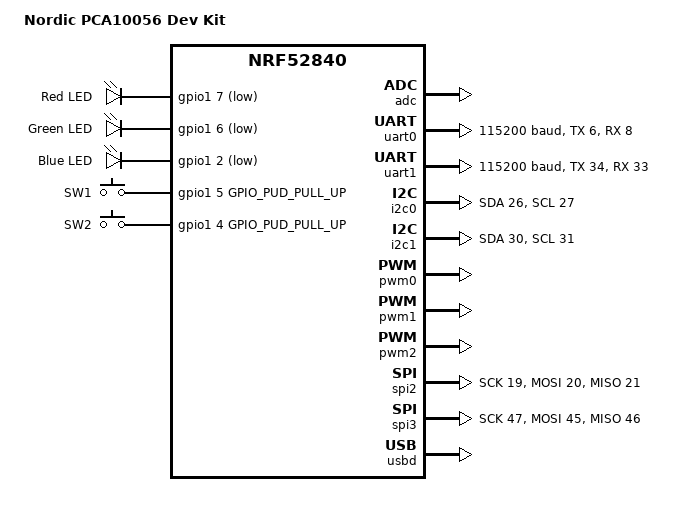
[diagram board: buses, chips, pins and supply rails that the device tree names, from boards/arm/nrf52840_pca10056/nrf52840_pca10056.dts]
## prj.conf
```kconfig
CONFIG_STDOUT_CONSOLE=y
CONFIG_GPIO=y
CONFIG_USB=y
CONFIG_USB_DEVICE_STACK=y
CONFIG_USB_DEVICE_PRODUCT="Zephyr CDC ACM sample"
CONFIG_LOG=y
CONFIG_USB_DRIVER_LOG_LEVEL_ERR=y
CONFIG_USB_CDC_ACM=y
CONFIG_USB_DEVICE_LOG_LEVEL_ERR=y
CONFIG_SERIAL=y
CONFIG_UART_INTERRUPT_DRIVEN=y
CONFIG_UART_LINE_CTRL=y

CONFIG_NEWLIB_LIBC=y
CONFIG_MAIN_STACK_SIZE=8192
```

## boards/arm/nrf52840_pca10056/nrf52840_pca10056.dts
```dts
/*
 * Copyright (c) 2017 Linaro Limited
 *
 * SPDX-License-Identifier: Apache-2.0
 */

/dts-v1/;
#include <nordic/nrf52840_qiaa.dtsi>

/ {
	model = "Nordic PCA10056 Dev Kit";
	compatible = "nordic,pca10056-dk", "nordic,nrf52840-qiaa",
		     "nordic,nrf52840";

	chosen {
		zephyr,console = &uart0;
		zephyr,shell-uart = &uart0;
		zephyr,uart-mcumgr = &uart0;
		zephyr,bt-mon-uart = &uart0;
		zephyr,bt-c2h-uart = &uart0;
		zephyr,sram = &sram0;
		zephyr,flash = &flash0;
		zephyr,code-partition = &slot0_partition;
	};

	leds {
		compatible = "gpio-leds";
		led0: led_0 {
			gpios = <&gpio1 7 GPIO_INT_ACTIVE_LOW>;
			label = "Red LED";
		};
		led1: led_1 {
			gpios = <&gpio1 6 GPIO_INT_ACTIVE_LOW>;
			label = "Green LED";
		};
		led2: led_2 {
			gpios = <&gpio1 2 GPIO_INT_ACTIVE_LOW>;
			label = "Blue LED";
		};
	};

	buttons {
		compatible = "gpio-keys";
		button0: button_0 {
			gpios = <&gpio1 5 GPIO_PUD_PULL_UP>;
			label = "SW1";
		};
		button1: button_1 {
			gpios = <&gpio1 4 GPIO_PUD_PULL_UP>;
			label = "SW2";
		};
	};

	/* These aliases are provided for compatibility with samples */
	aliases {
		led0 = &led0;
		led1 = &led1;
		led2 = &led2;
		sw0 = &button0;
		sw1 = &button1;
	};
};

&adc {
	status = "okay";
};

&gpiote {
	status = "okay";
};

&gpio0 {
	status = "okay";
};

&gpio1 {
	status = "okay";
};

&uart0 {
	compatible = "nordic,nrf-uart";
	status = "okay";
	current-speed = <115200>;
	tx-pin = <6>;
	rx-pin = <8>;
	rts-pin = <5>;
	cts-pin = <7>;
};

arduino_serial: &uart1 {
	status = "okay";
	current-speed = <115200>;
	rx-pin = <33>;
	tx-pin = <34>;
};

arduino_i2c: &i2c0 {
	compatible = "nordic,nrf-twi";
	status = "okay";
	sda-pin = <26>;
	scl-pin = <27>;
};

&i2c1 {
	compatible = "nordic,nrf-twi";
	/* Cannot be used together with spi1. */
	/* status = "okay"; */
	sda-pin = <30>;
	scl-pin = <31>;
};

&pwm0 {
	status = "okay";
	ch0-pin = <39>;
	ch0-inverted;
};

&pwm1 {
	status = "okay";
	ch0-pin = <38>;
	ch0-inverted;
};

&pwm2 {
	status = "okay";
	ch0-pin = <34>;
	ch0-inverted;
};

&spi2 {
	compatible = "nordic,nrf-spi";
	status = "okay";
	sck-pin = <19>;
	mosi-pin = <20>;
	miso-pin = <21>;
};

arduino_spi: &spi3 {
	status = "okay";
	sck-pin = <47>;
	miso-pin = <46>;
	mosi-pin = <45>;
};

&flash0 {
	/*
	 * For more information, see:
	 * http://docs.zephyrproject.org/latest/guides/dts/index.html#flash-partitions
	 */
	partitions {
		compatible = "fixed-partitions";
		#address-cells = <1>;
		#size-cells = <1>;

		boot_partition: partition@0 {
			label = "mcuboot";
			reg = <0x000000000 0x00014000>;
		};
		slot0_partition: partition@14000 {
			label = "image-0";
			reg = <0x00014000 0x00006e000>;
		};
		slot1_partition: partition@82000 {
			label = "image-1";
			reg = <0x00082000 0x00006e000>;
		};
		scratch_partition: partition@f0000 {
			label = "image-scratch";
			reg = <0x000f0000 0x00008000>;
		};

		/*
		 * The flash starting at 0x000f8000 and ending at
		 * 0x000fffff is reserved for use by the application.
		 */

		/* Storage partition will be used by FCB/NFFS/NVS if enabled. */
		storage_partition: partition@f8000 {
			label = "storage";
			reg = <0x000f8000 0x00008000>;
		};
	};
};

&usbd {
	compatible = "nordic,nrf-usbd";
	status = "okay";
};
```

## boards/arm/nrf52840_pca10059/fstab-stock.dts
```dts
/*
 * Copyright (c) 2019 Nordic Semiconductor ASA
 *
 * SPDX-License-Identifier: Apache-2.0
 */

/* Flash partition table compatible with Nordic nRF5 bootloader */

&flash0 {
	partitions {
		compatible = "fixed-partitions";
		#address-cells = <1>;
		#size-cells = <1>;

		/* MCUboot placed after Nordic MBR.
		 * The size of this partition ensures that MCUBoot
		 * can be built with CDC ACM support and w/o optimizations.
		 */
		boot_partition: partition@0 {
			label = "mcuboot";
			reg = <0x00000000 0x00014000>;
		};

		slot0_partition: partition@14000 {
			label = "image-0";
			reg = <0x00014000 0x00006e000>;
		};
		slot1_partition: partition@82000 {
			label = "image-1";
			reg = <0x00082000 0x00006e000>;
		};

		scratch_partition: partition@f0000 {
			label = "image-scratch";
			reg = <0x000f0000 0x00008000>;
		};

		/*
		 * The flash starting at 0x000f8000 and ending at
		 * 0x000fffff is reserved for use by the application.
		 */

		/* Storage partition will be used by FCB/NFFS/NVS if enabled. */
		storage_partition: partition@f8000 {
			label = "storage";
			reg = <0x000f8000 0x00008000>;
		};
	};
};
```

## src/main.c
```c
/*
    Copyright 2019 Joel Svensson	svenssonjoel@yahoo.se

    This program is free software: you can redistribute it and/or modify
    it under the terms of the GNU General Public License as published by
    the Free Software Foundation, either version 3 of the License, or
    (at your option) any later version.

    This program is distributed in the hope that it will be useful,
    but WITHOUT ANY WARRANTY; without even the implied warranty of
    MERCHANTABILITY or FITNESS FOR A PARTICULAR PURPOSE.  See the
    GNU General Public License for more details.

    You should have received a copy of the GNU General Public License
    along with this program.  If not, see <http://www.gnu.org/licenses/>.
*/

#include <device.h>
#include <drivers/uart.h>
#include <zephyr.h>
#include <sys/ring_buffer.h>

#include <stdio.h>

#define RING_BUF_SIZE 1024
u8_t in_ring_buffer[RING_BUF_SIZE];
u8_t out_ring_buffer[RING_BUF_SIZE];

struct device *dev;

struct ring_buf in_ringbuf;
struct ring_buf out_ringbuf;

static void interrupt_handler(struct device *dev)
{
	while (uart_irq_update(dev) && uart_irq_is_pending(dev)) {
		if (uart_irq_rx_ready(dev)) {
			int recv_len, rb_len;
			u8_t buffer[64];
			size_t len = MIN(ring_buf_space_get(&in_ringbuf),
							 sizeof(buffer));

			recv_len = uart_fifo_read(dev, buffer, len);

			rb_len = ring_buf_put(&in_ringbuf, buffer, recv_len);
			if (rb_len < recv_len) {
				//silently dropping bytes
			}
		}

		if (uart_irq_tx_ready(dev)) {
			u8_t buffer[64];
			int rb_len, send_len;

			rb_len = ring_buf_get(&out_ringbuf, buffer, sizeof(buffer));
			if (!rb_len) {
				uart_irq_tx_disable(dev);
				continue;
			}

			send_len = uart_fifo_fill(dev, buffer, rb_len);
			if (send_len < rb_len) {
			}
		}
	}
}

int get_char() {

	int n;
	u8_t c;
	unsigned int key = irq_lock();
	n = ring_buf_get(&in_ringbuf, &c, 1);
	irq_unlock(key);
	if (n == 1) {
		return c;
	}
	return -1;
}

void put_char(int i) {
	if (i >= 0 && i < 256) {

		u8_t c = (u8_t)i;
		unsigned int key = irq_lock();
		ring_buf_put(&out_ringbuf, &c, 1);
		uart_irq_tx_enable(dev);
		irq_unlock(key);
	}
}

void usb_printf(char *format, ...) {

	va_list arg;
	va_start(arg, format);
	int len;
	static char print_buffer[4096];

	len = vsnprintf(print_buffer, 4096,format, arg);
	va_end(arg);

	int num_written = 0;
	while (len - num_written > 0) {
		unsigned int key = irq_lock();
		num_written +=
			ring_buf_put(&out_ringbuf,
						 (print_buffer + num_written),
						 (len - num_written));
		irq_unlock(key);
		uart_irq_tx_enable(dev);
	}
}


int inputline(char *buffer, int size) {
	int n = 0;
	int c;
	for (n = 0; n < size - 1; n++) {

		c = get_char();
		switch (c) {
		case 127: /* fall through to below */
		case '\b': /* backspace character received */
			if (n > 0)
				n--;
			buffer[n] = 0;
			put_char('\b'); /* output backspace character */
			n--; /* set up next iteration to deal with preceding char location */
			break;
		case '\n': /* fall through to \r */
		case '\r':
			buffer[n] = 0;
			return n;
		default:
			if (c != -1 && c < 256) {
				put_char(c);
				buffer[n] = c;
			} else {
				n --;
			}

			break;
		}
	}
	buffer[size - 1] = 0;
	return 0; // Filled up buffer without reading a linebreak
}

void main(void)
{

	u32_t baudrate, dtr = 0U;

	dev = device_get_binding("CDC_ACM_0");
	if (!dev) {
		return;
	}

	ring_buf_init(&in_ringbuf, sizeof(in_ring_buffer), in_ring_buffer);
	ring_buf_init(&out_ringbuf, sizeof(out_ring_buffer), out_ring_buffer);

	while (true) {
		uart_line_ctrl_get(dev, UART_LINE_CTRL_DTR, &dtr);
		if (dtr) {
			break;
		} else {
			k_sleep(100);
		}
	}

	uart_line_ctrl_set(dev, UART_LINE_CTRL_DCD, 1);
	uart_line_ctrl_set(dev, UART_LINE_CTRL_DSR, 1);

	k_busy_wait(1000000);

	uart_line_ctrl_get(dev, UART_LINE_CTRL_BAUD_RATE, &baudrate);

	uart_irq_callback_set(dev, interrupt_handler);

	uart_irq_rx_enable(dev);

	usb_printf("Allocating input/output buffers\n\r");

	while (1) {
		usb_printf("Lisp REPL started (ZephyrOS)!\n\r");
		k_sleep(500);
	}

}
```
